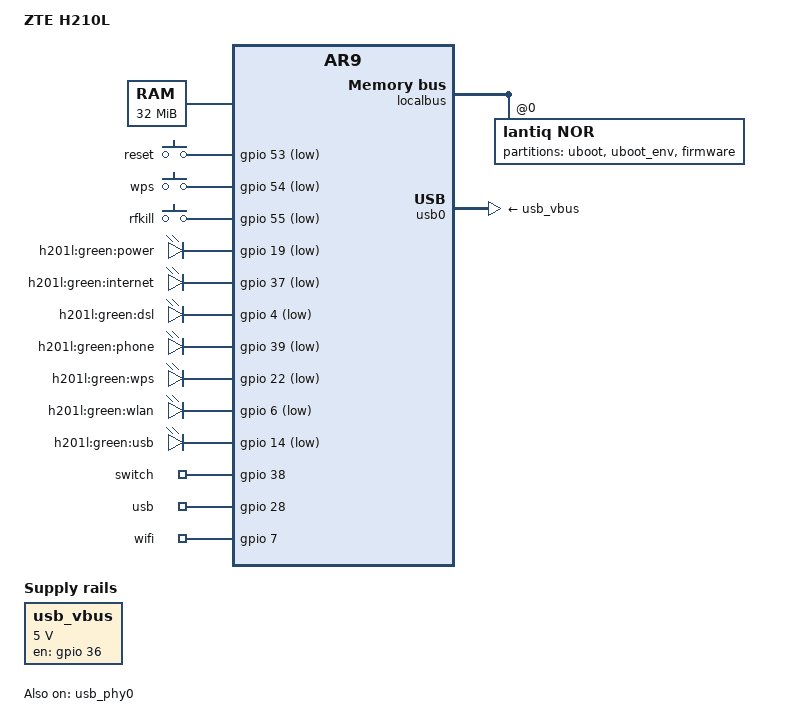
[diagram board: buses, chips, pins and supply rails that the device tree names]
/dts-v1/;

#include "ar9.dtsi"

#include <dt-bindings/input/input.h>

/ {
	compatible = "zte,h201l", "lantiq,xway", "lantiq,ar9";
	model = "ZTE H210L";

	chosen {
		bootargs = "console=ttyLTQ0,115200";
	};

	aliases {
		led-boot = &power_green;
		led-failsafe = &power_green;
		led-running = &power_green;

		led-dsl = &dsl;
		led-internet = &online;
		led-usb = &led_usb;
		led-wifi = &wifi;
	};

	memory@0 {
		reg = <0x0 0x2000000>;
	};

	gpio-keys-polled {
		compatible = "gpio-keys-polled";
		#address-cells = <1>;
		#size-cells = <0>;
		poll-interval = <100>;

		reset {
			label = "reset";
			gpios = <&gpio 53 GPIO_ACTIVE_LOW>;
			linux,code = <KEY_RESTART>;
		};
		wps {
			label = "wps";
			gpios = <&gpio 54 GPIO_ACTIVE_LOW>;
			linux,code = <KEY_WPS_BUTTON>;
		};
		rfkill {
			label = "rfkill";
			gpios = <&gpio 55 GPIO_ACTIVE_LOW>;
			linux,code = <KEY_RFKILL>;
		};
	};

	gpio-leds {
		compatible = "gpio-leds";

		power_green: power {
			label = "h201l:green:power";
			gpios = <&gpio 19 GPIO_ACTIVE_LOW>;
			default-state = "keep";
		};
		online: online {
			label = "h201l:green:internet";
			gpios = <&gpio 37 GPIO_ACTIVE_LOW>;
		};
		dsl: dsl {
			label = "h201l:green:dsl";
			gpios = <&gpio 4 GPIO_ACTIVE_LOW>;
		};
		phone {
			label = "h201l:green:phone";
			gpios = <&gpio 39 GPIO_ACTIVE_LOW>;
		};
		wps {
			label = "h201l:green:wps";
			gpios = <&gpio 22 GPIO_ACTIVE_LOW>;
		};
		wifi: wifi {
			label = "h201l:green:wlan";
			gpios = <&gpio 6 GPIO_ACTIVE_LOW>;
		};
		led_usb: usb {
			label = "h201l:green:usb";
			gpios = <&gpio 14 GPIO_ACTIVE_LOW>;
		};
	};

	gpio_export {
		compatible = "gpio-export";
		#size-cells = <0>;

		switch {
			gpio-export,name = "switch";
			gpio-export,output = <1>;
			gpios = <&gpio 38 GPIO_ACTIVE_HIGH>;
		};
		usb {
			gpio-export,name = "usb";
			gpio-export,output = <1>;
			gpios = <&gpio 28 GPIO_ACTIVE_HIGH>;
		};
		wifi {
			gpio-export,name = "wifi";
			gpio-export,output = <1>;
			gpios = <&gpio 7 GPIO_ACTIVE_HIGH>;
		};
	};

	usb_vbus: regulator-usb-vbus {
		compatible = "regulator-fixed";

		regulator-name = "USB_VBUS";

		regulator-min-microvolt = <5000000>;
		regulator-max-microvolt = <5000000>;

		gpio = <&gpio 36 GPIO_ACTIVE_HIGH>;
		enable-active-high;
	};
};

&gpio {
	pinctrl-names = "default";
	pinctrl-0 = <&state_default>;

	state_default: pinmux {
	};
};

&gsw {
	phy-mode = "rgmii";
};

&localbus {
	nor@0 {
		compatible = "lantiq,nor";
		bank-width = <2>;
		reg = <0 0x0 0x2000000>;
		#address-cells = <1>;
		#size-cells = <1>;

		partitions {
			compatible = "fixed-partitions";
			#address-cells = <1>;
			#size-cells = <1>;

			partition@0 {
				label = "uboot";
				reg = <0x00000 0x20000>;
				read-only;
			};

			partition@20000 {
				label = "uboot_env";
				reg = <0x20000 0x10000>;
				read-only;
			};

			partition@30000 {
				label = "firmware";
				reg = <0x30000 0x7d0000>;
			};
		};
	};
};

&usb_phy0 {
	status = "okay";
};


&usb0 {
	status = "okay";
	vbus-supply = <&usb_vbus>;
};
